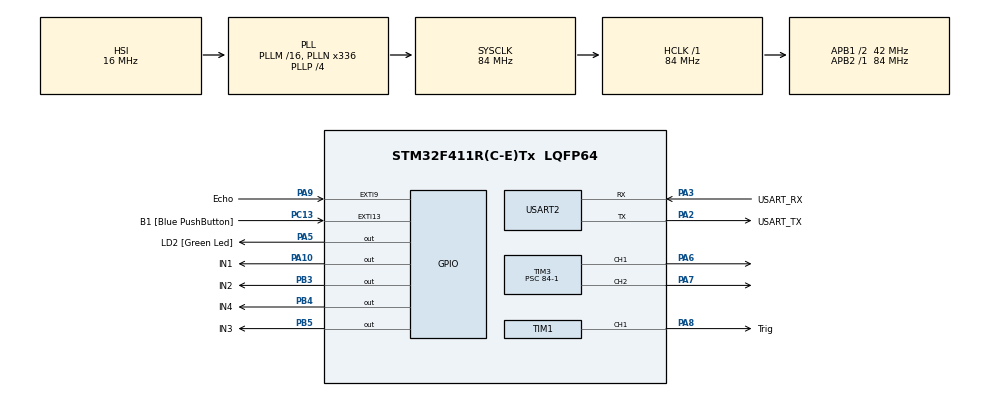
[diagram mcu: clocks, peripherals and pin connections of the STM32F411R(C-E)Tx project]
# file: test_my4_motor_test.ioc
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Mcu.Family=STM32F4
Mcu.Name=STM32F411R(C-E)Tx
Mcu.Package=LQFP64
NVIC.EXTI15_10_IRQn=true\:0\:0\:false\:false\:true\:true\:true\:true
NVIC.EXTI9_5_IRQn=true\:0\:0\:false\:false\:true\:true\:true\:true
NVIC.PriorityGroup=NVIC_PRIORITYGROUP_0
PA10.GPIO_Label=IN1
PA10.Signal=GPIO_Output
PA13.GPIO_Label=TMS
PA13.Mode=Serial_Wire
PA13.Signal=SYS_JTMS-SWDIO
PA14.GPIO_Label=TCK
PA14.Mode=Serial_Wire
PA14.Signal=SYS_JTCK-SWCLK
PA2.GPIO_Label=USART_TX
PA2.Mode=Asynchronous
PA2.Signal=USART2_TX
PA3.GPIO_Label=USART_RX
PA3.Mode=Asynchronous
PA3.Signal=USART2_RX
PA5.GPIO_Label=LD2 [Green Led]
PA5.Signal=GPIO_Output
PA6.Signal=S_TIM3_CH1
PA7.Signal=S_TIM3_CH2
PA8.GPIO_Label=Trig
PA8.Signal=S_TIM1_CH1
PA9.GPIO_Label=Echo
PA9.GPIO_ModeDefaultEXTI=GPIO_MODE_IT_RISING_FALLING
PA9.Signal=GPXTI9
PB3.GPIO_Label=IN2
PB3.Signal=GPIO_Output
PB4.GPIO_Label=IN4
PB4.Signal=GPIO_Output
PB5.GPIO_Label=IN3
PB5.Signal=GPIO_Output
PC13-ANTI_TAMP.GPIO_Label=B1 [Blue PushButton]
PC13-ANTI_TAMP.GPIO_ModeDefaultEXTI=GPIO_MODE_IT_FALLING
PC13-ANTI_TAMP.Signal=GPXTI13
PC14-OSC32_IN.Mode=LSE-External-Oscillator
PC14-OSC32_IN.Signal=RCC_OSC32_IN
PC15-OSC32_OUT.Mode=LSE-External-Oscillator
PC15-OSC32_OUT.Signal=RCC_OSC32_OUT
PH0\ -\ OSC_IN.Mode=HSE-External-Clock-Source
PH0\ -\ OSC_IN.Signal=RCC_OSC_IN
PH1\ -\ OSC_OUT.Mode=HSE-External-Clock-Source
PH1\ -\ OSC_OUT.Signal=RCC_OSC_OUT
ProjectManager.HeapSize=0x200
ProjectManager.StackSize=0x400
ProjectManager.TargetToolchain=STM32CubeIDE
RCC.48MHZClocksFreq_Value=84000000
RCC.AHBFreq_Value=84000000
RCC.APB1CLKDivider=RCC_HCLK_DIV2
RCC.APB1Freq_Value=42000000
RCC.APB1TimFreq_Value=84000000
RCC.APB2Freq_Value=84000000
RCC.APB2TimFreq_Value=84000000
RCC.CortexFreq_Value=84000000
RCC.FLatency-AdvancedSettings=FLASH_LATENCY_2
RCC.HCLKFreq_Value=84000000
RCC.HSE_VALUE=8000000
RCC.HSI_VALUE=16000000
RCC.PLLN=336
RCC.PLLP=RCC_PLLP_DIV4
RCC.SYSCLKFreq_VALUE=84000000
RCC.SYSCLKSource=RCC_SYSCLKSOURCE_PLLCLK
RCC.VCOOutputFreq_Value=336000000
SH.S_TIM1_CH1.0=TIM1_CH1,PWM Generation1 CH1
SH.S_TIM3_CH1.0=TIM3_CH1,PWM Generation1 CH1
SH.S_TIM3_CH2.0=TIM3_CH2,PWM Generation2 CH2
TIM1.Channel-PWM\ Generation1\ CH1=TIM_CHANNEL_1
TIM1.Period=20000
TIM1.Prescaler=210-1
TIM1.Pulse-PWM\ Generation1\ CH1=4
TIM2.Prescaler=84-1
TIM3.Channel-PWM\ Generation1\ CH1=TIM_CHANNEL_1
TIM3.Channel-PWM\ Generation2\ CH2=TIM_CHANNEL_2
TIM3.Period=1000-1
TIM3.Prescaler=84-1
TIM3.Pulse-PWM\ Generation1\ CH1=500
TIM3.Pulse-PWM\ Generation2\ CH2=500
USART2.VirtualMode=VM_ASYNC
VP_TIM1_VS_ClockSourceINT.Mode=Internal
VP_TIM2_VS_ClockSourceINT.Mode=Internal
board=NUCLEO-F411RE

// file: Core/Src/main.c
/* USER CODE BEGIN Header */
/**
  ******************************************************************************
  * @file           : main.c
  * @brief          : Main program body
  ******************************************************************************
  * @attention
  *
  * Copyright (c) 2025 STMicroelectronics.
  * All rights reserved.
  *
  * This software is licensed under terms that can be found in the LICENSE file
  * in the root directory of this software component.
  * If no LICENSE file comes with this software, it is provided AS-IS.
  *
  ******************************************************************************
  */
/* USER CODE END Header */
#include "main.h"

TIM_HandleTypeDef htim1;
TIM_HandleTypeDef htim2;
TIM_HandleTypeDef htim3;

UART_HandleTypeDef huart2;

void SystemClock_Config(void);
static void MX_GPIO_Init(void);
static void MX_USART2_UART_Init(void);
static void MX_TIM1_Init(void);
static void MX_TIM2_Init(void);
static void MX_TIM3_Init(void);

/* USER CODE BEGIN 0 */
int mode = 0, pre_mode = 0;
double dist = 0;
void HAL_GPIO_EXTI_Callback(uint16_t GPIO_Pin)
{
  switch(GPIO_Pin) {
  case B1_Pin:
	  if(mode == 5)	{
		  if(dist > 500)	mode = 1;
		  pre_mode = mode;
	  }
	  else
	  {
		  mode++;
		  if(mode == 5)	mode = 0;
		  pre_mode = mode;
	  }

//	  if(mode != 5)	{
//		  mode++;	// 1: Front, 2: Rear, 3: Left, 4: Right, 0: Stop, 5: Stop (Too Close)
//		  if(mode == 5)	mode = 0;
//		  pre_mode = mode;
//	  }
//	  else
//	  {
//		  mode = 1;
//		  pre_mode = mode;
//	  }
	  break;
  case Echo_Pin:
	  if(HAL_GPIO_ReadPin(Echo_GPIO_Port, Echo_Pin)) {
		  htim2.Instance->CNT = 0;
	  }
	  else {
		  if(htim2.Instance->CNT > 60000) {
			  dist = -1;
		  }
		  else {
			  dist = htim2.Instance->CNT * 0.17;
		  }
	  }
	  break;
  }
}
/* USER CODE END 0 */

int main(void)
{

  /* MCU Configuration--------------------------------------------------------*/

  /* Reset of all peripherals, Initializes the Flash interface and the Systick. */
  HAL_Init();

  /* Configure the system clock */
  SystemClock_Config();

  /* Initialize all configured peripherals */
  MX_GPIO_Init();
  MX_USART2_UART_Init();
  MX_TIM1_Init();
  MX_TIM2_Init();
  MX_TIM3_Init();
  /* USER CODE BEGIN 2 */
  ProgramStart("Mortor test!");
  HAL_TIM_PWM_Start(&htim1, TIM_CHANNEL_1); // Triger PWM
  HAL_TIM_Base_Start(&htim2);				// Echo Counter
  HAL_TIM_PWM_Start(&htim3, TIM_CHANNEL_1); // Moter ENA PWM
  HAL_TIM_PWM_Start(&htim3, TIM_CHANNEL_2); // Moter ENB PWM
//  htim1.Instance->CCR1 = htim1.Instance->ARR / 3;
//  htim1.Instance->CCR3 = htim1.Instance->ARR / 3;
//  htim3.Instance->CCR2 = 10;

  /* USER CODE END 2 */

  /* Infinite loop */
  /* USER CODE BEGIN WHILE */
  while (1)
  {
	  printf("%f\r\n", dist);
	  if(dist == -1) {}
	  else if(dist < 150) {
		  mode = 5;
	  }
	  else {
		  mode = pre_mode;
	  }

	  switch(mode) {
	  case 0:
		  HAL_GPIO_WritePin(IN1_GPIO_Port, IN1_Pin, 1);
		  HAL_GPIO_WritePin(IN2_GPIO_Port, IN2_Pin, 1);
		  HAL_GPIO_WritePin(IN3_GPIO_Port, IN3_Pin, 1);
		  HAL_GPIO_WritePin(IN4_GPIO_Port, IN4_Pin, 1);
		  break;
	  case 1:
		  HAL_GPIO_WritePin(IN1_GPIO_Port, IN1_Pin, 1);
		  HAL_GPIO_WritePin(IN2_GPIO_Port, IN2_Pin, 0);
		  HAL_GPIO_WritePin(IN3_GPIO_Port, IN3_Pin, 1);
		  HAL_GPIO_WritePin(IN4_GPIO_Port, IN4_Pin, 0);
		  break;
	  case 2:
		  HAL_GPIO_WritePin(IN1_GPIO_Port, IN1_Pin, 0);
		  HAL_GPIO_WritePin(IN2_GPIO_Port, IN2_Pin, 1);
		  HAL_GPIO_WritePin(IN3_GPIO_Port, IN3_Pin, 0);
		  HAL_GPIO_WritePin(IN4_GPIO_Port, IN4_Pin, 1);
		  break;
	  case 3:
		  HAL_GPIO_WritePin(IN1_GPIO_Port, IN1_Pin, 0);
		  HAL_GPIO_WritePin(IN2_GPIO_Port, IN2_Pin, 1);
		  HAL_GPIO_WritePin(IN3_GPIO_Port, IN3_Pin, 1);
		  HAL_GPIO_WritePin(IN4_GPIO_Port, IN4_Pin, 0);
		  break;
	  case 4:
		  HAL_GPIO_WritePin(IN1_GPIO_Port, IN1_Pin, 1);
		  HAL_GPIO_WritePin(IN2_GPIO_Port, IN2_Pin, 0);
		  HAL_GPIO_WritePin(IN3_GPIO_Port, IN3_Pin, 0);
		  HAL_GPIO_WritePin(IN4_GPIO_Port, IN4_Pin, 1);
		  break;
	  case 5:
		  HAL_GPIO_WritePin(IN1_GPIO_Port, IN1_Pin, 1);
		  HAL_GPIO_WritePin(IN2_GPIO_Port, IN2_Pin, 1);
		  HAL_GPIO_WritePin(IN3_GPIO_Port, IN3_Pin, 1);
		  HAL_GPIO_WritePin(IN4_GPIO_Port, IN4_Pin, 1);
		  break;

		  HAL_Delay(100);
	  }
    /* USER CODE END WHILE */

  }
}

void SystemClock_Config(void)
{
  RCC_OscInitTypeDef RCC_OscInitStruct = {0};
  RCC_ClkInitTypeDef RCC_ClkInitStruct = {0};

  /** Configure the main internal regulator output voltage
  */
  __HAL_RCC_PWR_CLK_ENABLE();
  __HAL_PWR_VOLTAGESCALING_CONFIG(PWR_REGULATOR_VOLTAGE_SCALE1);

  /** Initializes the RCC Oscillators according to the specified parameters
  * in the RCC_OscInitTypeDef structure.
  */
  RCC_OscInitStruct.OscillatorType = RCC_OSCILLATORTYPE_HSI;
  RCC_OscInitStruct.HSIState = RCC_HSI_ON;
  RCC_OscInitStruct.HSICalibrationValue = RCC_HSICALIBRATION_DEFAULT;
  RCC_OscInitStruct.PLL.PLLState = RCC_PLL_ON;
  RCC_OscInitStruct.PLL.PLLSource = RCC_PLLSOURCE_HSI;
  RCC_OscInitStruct.PLL.PLLM = 16;
  RCC_OscInitStruct.PLL.PLLN = 336;
  RCC_OscInitStruct.PLL.PLLP = RCC_PLLP_DIV4;
  RCC_OscInitStruct.PLL.PLLQ = 4;
  if (HAL_RCC_OscConfig(&RCC_OscInitStruct) != HAL_OK)
  {
    Error_Handler();
  }

  /** Initializes the CPU, AHB and APB buses clocks
  */
  RCC_ClkInitStruct.ClockType = RCC_CLOCKTYPE_HCLK|RCC_CLOCKTYPE_SYSCLK
                              |RCC_CLOCKTYPE_PCLK1|RCC_CLOCKTYPE_PCLK2;
  RCC_ClkInitStruct.SYSCLKSource = RCC_SYSCLKSOURCE_PLLCLK;
  RCC_ClkInitStruct.AHBCLKDivider = RCC_SYSCLK_DIV1;
  RCC_ClkInitStruct.APB1CLKDivider = RCC_HCLK_DIV2;
  RCC_ClkInitStruct.APB2CLKDivider = RCC_HCLK_DIV1;

  if (HAL_RCC_ClockConfig(&RCC_ClkInitStruct, FLASH_LATENCY_2) != HAL_OK)
  {
    Error_Handler();
  }
}

static void MX_TIM1_Init(void)
{

  TIM_ClockConfigTypeDef sClockSourceConfig = {0};
  TIM_MasterConfigTypeDef sMasterConfig = {0};
  TIM_OC_InitTypeDef sConfigOC = {0};
  TIM_BreakDeadTimeConfigTypeDef sBreakDeadTimeConfig = {0};

  htim1.Instance = TIM1;
  htim1.Init.Prescaler = 210-1;
  htim1.Init.CounterMode = TIM_COUNTERMODE_UP;
  htim1.Init.Period = 20000;
  htim1.Init.ClockDivision = TIM_CLOCKDIVISION_DIV1;
  htim1.Init.RepetitionCounter = 0;
  htim1.Init.AutoReloadPreload = TIM_AUTORELOAD_PRELOAD_DISABLE;
  if (HAL_TIM_Base_Init(&htim1) != HAL_OK)
  {
    Error_Handler();
  }
  sClockSourceConfig.ClockSource = TIM_CLOCKSOURCE_INTERNAL;
  if (HAL_TIM_ConfigClockSource(&htim1, &sClockSourceConfig) != HAL_OK)
  {
    Error_Handler();
  }
  if (HAL_TIM_PWM_Init(&htim1) != HAL_OK)
  {
    Error_Handler();
  }
  sMasterConfig.MasterOutputTrigger = TIM_TRGO_RESET;
  sMasterConfig.MasterSlaveMode = TIM_MASTERSLAVEMODE_DISABLE;
  if (HAL_TIMEx_MasterConfigSynchronization(&htim1, &sMasterConfig) != HAL_OK)
  {
    Error_Handler();
  }
  sConfigOC.OCMode = TIM_OCMODE_PWM1;
  sConfigOC.Pulse = 4;
  sConfigOC.OCPolarity = TIM_OCPOLARITY_HIGH;
  sConfigOC.OCNPolarity = TIM_OCNPOLARITY_HIGH;
  sConfigOC.OCFastMode = TIM_OCFAST_DISABLE;
  sConfigOC.OCIdleState = TIM_OCIDLESTATE_RESET;
  sConfigOC.OCNIdleState = TIM_OCNIDLESTATE_RESET;
  if (HAL_TIM_PWM_ConfigChannel(&htim1, &sConfigOC, TIM_CHANNEL_1) != HAL_OK)
  {
    Error_Handler();
  }
  sBreakDeadTimeConfig.OffStateRunMode = TIM_OSSR_DISABLE;
  sBreakDeadTimeConfig.OffStateIDLEMode = TIM_OSSI_DISABLE;
  sBreakDeadTimeConfig.LockLevel = TIM_LOCKLEVEL_OFF;
  sBreakDeadTimeConfig.DeadTime = 0;
  sBreakDeadTimeConfig.BreakState = TIM_BREAK_DISABLE;
  sBreakDeadTimeConfig.BreakPolarity = TIM_BREAKPOLARITY_HIGH;
  sBreakDeadTimeConfig.AutomaticOutput = TIM_AUTOMATICOUTPUT_DISABLE;
  if (HAL_TIMEx_ConfigBreakDeadTime(&htim1, &sBreakDeadTimeConfig) != HAL_OK)
  {
    Error_Handler();
  }
  HAL_TIM_MspPostInit(&htim1);

}

static void MX_TIM2_Init(void)
{

  TIM_ClockConfigTypeDef sClockSourceConfig = {0};
  TIM_MasterConfigTypeDef sMasterConfig = {0};

  htim2.Instance = TIM2;
  htim2.Init.Prescaler = 84-1;
  htim2.Init.CounterMode = TIM_COUNTERMODE_UP;
  htim2.Init.Period = 4294967295;
  htim2.Init.ClockDivision = TIM_CLOCKDIVISION_DIV1;
  htim2.Init.AutoReloadPreload = TIM_AUTORELOAD_PRELOAD_DISABLE;
  if (HAL_TIM_Base_Init(&htim2) != HAL_OK)
  {
    Error_Handler();
  }
  sClockSourceConfig.ClockSource = TIM_CLOCKSOURCE_INTERNAL;
  if (HAL_TIM_ConfigClockSource(&htim2, &sClockSourceConfig) != HAL_OK)
  {
    Error_Handler();
  }
  sMasterConfig.MasterOutputTrigger = TIM_TRGO_RESET;
  sMasterConfig.MasterSlaveMode = TIM_MASTERSLAVEMODE_DISABLE;
  if (HAL_TIMEx_MasterConfigSynchronization(&htim2, &sMasterConfig) != HAL_OK)
  {
    Error_Handler();
  }

}

static void MX_TIM3_Init(void)
{

  TIM_MasterConfigTypeDef sMasterConfig = {0};
  TIM_OC_InitTypeDef sConfigOC = {0};

  htim3.Instance = TIM3;
  htim3.Init.Prescaler = 84-1;
  htim3.Init.CounterMode = TIM_COUNTERMODE_UP;
  htim3.Init.Period = 1000-1;
  htim3.Init.ClockDivision = TIM_CLOCKDIVISION_DIV1;
  htim3.Init.AutoReloadPreload = TIM_AUTORELOAD_PRELOAD_DISABLE;
  if (HAL_TIM_PWM_Init(&htim3) != HAL_OK)
  {
    Error_Handler();
  }
  sMasterConfig.MasterOutputTrigger = TIM_TRGO_RESET;
  sMasterConfig.MasterSlaveMode = TIM_MASTERSLAVEMODE_DISABLE;
  if (HAL_TIMEx_MasterConfigSynchronization(&htim3, &sMasterConfig) != HAL_OK)
  {
    Error_Handler();
  }
  sConfigOC.OCMode = TIM_OCMODE_PWM1;
  sConfigOC.Pulse = 500;
  sConfigOC.OCPolarity = TIM_OCPOLARITY_HIGH;
  sConfigOC.OCFastMode = TIM_OCFAST_DISABLE;
  if (HAL_TIM_PWM_ConfigChannel(&htim3, &sConfigOC, TIM_CHANNEL_1) != HAL_OK)
  {
    Error_Handler();
  }
  if (HAL_TIM_PWM_ConfigChannel(&htim3, &sConfigOC, TIM_CHANNEL_2) != HAL_OK)
  {
    Error_Handler();
  }
  HAL_TIM_MspPostInit(&htim3);

}

static void MX_USART2_UART_Init(void)
{

  huart2.Instance = USART2;
  huart2.Init.BaudRate = 115200;
  huart2.Init.WordLength = UART_WORDLENGTH_8B;
  huart2.Init.StopBits = UART_STOPBITS_1;
  huart2.Init.Parity = UART_PARITY_NONE;
  huart2.Init.Mode = UART_MODE_TX_RX;
  huart2.Init.HwFlowCtl = UART_HWCONTROL_NONE;
  huart2.Init.OverSampling = UART_OVERSAMPLING_16;
  if (HAL_UART_Init(&huart2) != HAL_OK)
  {
    Error_Handler();
  }

}

static void MX_GPIO_Init(void)
{
  GPIO_InitTypeDef GPIO_InitStruct = {0};

  /* GPIO Ports Clock Enable */
  __HAL_RCC_GPIOC_CLK_ENABLE();
  __HAL_RCC_GPIOH_CLK_ENABLE();
  __HAL_RCC_GPIOA_CLK_ENABLE();
  __HAL_RCC_GPIOB_CLK_ENABLE();

  /*Configure GPIO pin Output Level */
  HAL_GPIO_WritePin(GPIOA, LD2_Pin|IN1_Pin, GPIO_PIN_RESET);

  /*Configure GPIO pin Output Level */
  HAL_GPIO_WritePin(GPIOB, IN2_Pin|IN4_Pin|IN3_Pin, GPIO_PIN_RESET);

  /*Configure GPIO pin : B1_Pin */
  GPIO_InitStruct.Pin = B1_Pin;
  GPIO_InitStruct.Mode = GPIO_MODE_IT_FALLING;
  GPIO_InitStruct.Pull = GPIO_NOPULL;
  HAL_GPIO_Init(B1_GPIO_Port, &GPIO_InitStruct);

  /*Configure GPIO pins : LD2_Pin IN1_Pin */
  GPIO_InitStruct.Pin = LD2_Pin|IN1_Pin;
  GPIO_InitStruct.Mode = GPIO_MODE_OUTPUT_PP;
  GPIO_InitStruct.Pull = GPIO_NOPULL;
  GPIO_InitStruct.Speed = GPIO_SPEED_FREQ_LOW;
  HAL_GPIO_Init(GPIOA, &GPIO_InitStruct);

  /*Configure GPIO pin : Echo_Pin */
  GPIO_InitStruct.Pin = Echo_Pin;
  GPIO_InitStruct.Mode = GPIO_MODE_IT_RISING_FALLING;
  GPIO_InitStruct.Pull = GPIO_NOPULL;
  HAL_GPIO_Init(Echo_GPIO_Port, &GPIO_InitStruct);

  /*Configure GPIO pins : IN2_Pin IN4_Pin IN3_Pin */
  GPIO_InitStruct.Pin = IN2_Pin|IN4_Pin|IN3_Pin;
  GPIO_InitStruct.Mode = GPIO_MODE_OUTPUT_PP;
  GPIO_InitStruct.Pull = GPIO_NOPULL;
  GPIO_InitStruct.Speed = GPIO_SPEED_FREQ_LOW;
  HAL_GPIO_Init(GPIOB, &GPIO_InitStruct);

  /* EXTI interrupt init*/
  HAL_NVIC_SetPriority(EXTI9_5_IRQn, 0, 0);
  HAL_NVIC_EnableIRQ(EXTI9_5_IRQn);

  HAL_NVIC_SetPriority(EXTI15_10_IRQn, 0, 0);
  HAL_NVIC_EnableIRQ(EXTI15_10_IRQn);

}

void Error_Handler(void)
{
  __disable_irq();
  while (1)
  {
  }
}
